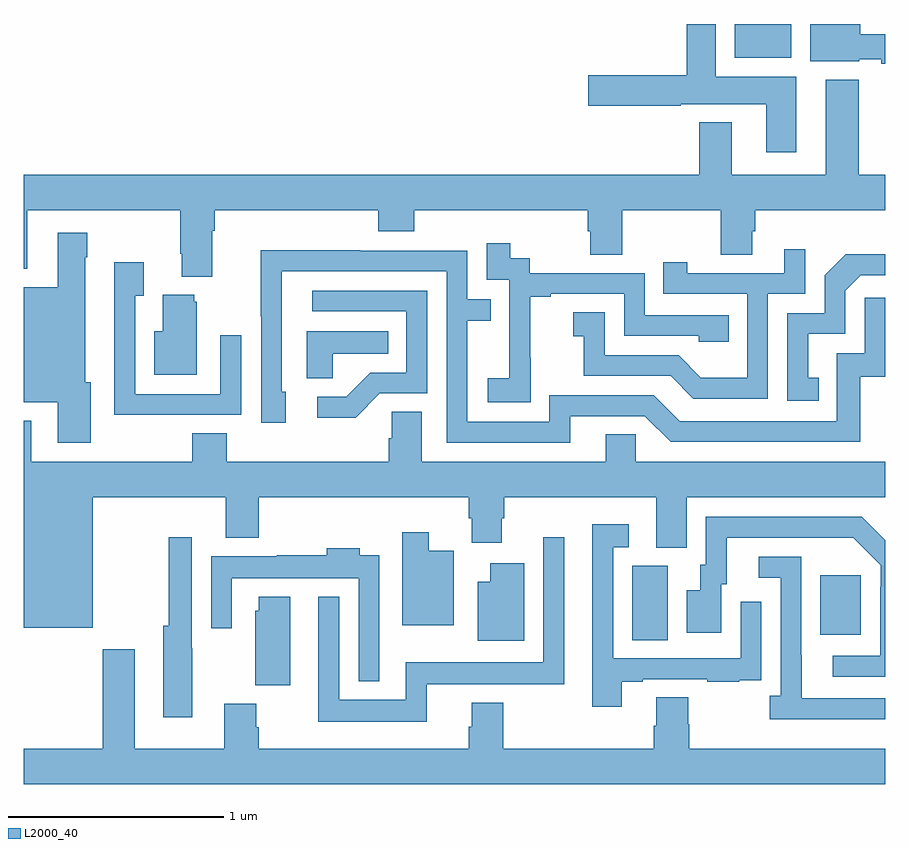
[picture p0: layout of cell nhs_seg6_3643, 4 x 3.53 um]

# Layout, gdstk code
import gdstk
lib = gdstk.Library(unit=1e-6, precision=1e-09)
def R(c, l, rs):  # rectangles x0, y0, x1, y1
    for r in rs: c.add(gdstk.rectangle(r[:2], r[2:], *l))
def P(c, l, *ps):  # polygons
    for p in ps: c.add(gdstk.Polygon(p, *l))
L2000_40 = (2000, 40)

nhs_seg6_3643 = lib.new_cell('nhs_seg6_3643')
R(nhs_seg6_3643, L2000_40, [(325.826,978.64,325.99,978.984), (326.699,978.665,326.887,978.94), (326.3,981.344,326.563,981.5)])
P(nhs_seg6_3643, L2000_40, [(326.587,981.256),(326.212,981.256),(326.212,981.5),(326.078,981.5),(326.078,981.263),(325.62,981.263),(325.62,981.121),(326.051,981.121),(326.051,981.128),(326.447,981.128),(326.447,980.904),(326.587,980.904)],
  [(327,981.452),(326.884,981.452),(326.884,981.5),(326.651,981.5),(326.651,981.326),(326.88,981.326),(326.88,981.336),(326.98,981.336),(326.98,981.316),(327,981.316)],
  [(323.875,980.54),(323.888,980.54),(323.888,980.636),(324.647,980.636),(324.647,980.537),(324.812,980.537),(324.812,980.636),(325.619,980.636),(325.619,980.538),(325.631,980.538),(325.631,980.428),(325.779,980.428),(325.779,980.636),(326.236,980.636),(326.236,980.428),(326.383,980.428),(326.383,980.538),(326.396,980.538),(326.396,980.636),(327,980.636),(327,980.8),(326.876,980.8),(326.876,981.241),(326.723,981.241),(326.723,980.8),(326.287,980.8),(326.287,981.043),(326.135,981.043),(326.135,980.8),(323,980.8),(323,980.363),(323.017,980.363),(323.017,980.636),(323.728,980.636),(323.728,980.434),(323.735,980.434),(323.735,980.327),(323.875,980.327)],
  [(323.311,979.836),(323.287,979.836),(323.287,980.417),(323.295,980.417),(323.295,980.53),(323.159,980.53),(323.159,980.278),(323,980.278),(323,979.743),(323.159,979.743),(323.159,979.557),(323.311,979.557)],
  [(325.353,979.951),(325.352,979.951),(325.352,980.235),(325.447,980.235),(325.447,980.247),(325.788,980.247),(325.788,980.052),(326.133,980.052),(326.133,980.025),(326.273,980.025),(326.273,980.148),(325.884,980.148),(325.884,980.343),(325.35,980.343),(325.35,980.412),(325.258,980.412),(325.258,980.482),(325.149,980.482),(325.149,980.313),(325.254,980.313),(325.254,980.084),(325.253,980.084),(325.253,979.855),(325.155,979.855),(325.155,979.745),(325.353,979.745)],
  [(326.454,980.247),(326.628,980.247),(326.628,980.455),(326.531,980.455),(326.531,980.343),(326.08,980.343),(326.08,980.395),(325.969,980.395),(325.969,980.247),(326.358,980.247),(326.358,979.858),(326.144,979.858),(326.04,979.962),(325.698,979.962),(325.698,980.161),(325.551,980.161),(325.551,980.051),(325.6,980.051),(325.6,979.866),(326.003,979.866),(326.108,979.761),(326.454,979.761)],
  [(325.537,979.68),(325.884,979.68),(326.004,979.56),(326.884,979.56),(326.884,979.863),(327,979.863),(327,980.23),(326.904,980.23),(326.904,979.971),(326.775,979.971),(326.775,979.656),(326.046,979.656),(325.926,979.776),(325.44,979.776),(325.44,979.653),(325.059,979.653),(325.059,980.122),(325.169,980.122),(325.169,980.223),(325.059,980.223),(325.059,980.448),(324.563,980.448),(324.563,980.45),(324.1,980.45),(324.1,980.143),(324.102,980.143),(324.102,979.65),(324.217,979.65),(324.217,979.794),(324.198,979.794),(324.198,980.352),(324.963,980.352),(324.963,979.557),(325.537,979.557)],
  [(326.69,979.857),(326.641,979.857),(326.641,980.061),(326.814,980.061),(326.814,980.262),(326.886,980.334),(327,980.334),(327,980.432),(326.816,980.432),(326.718,980.334),(326.718,980.157),(326.544,980.157),(326.544,979.752),(326.69,979.752)],
  [(323.693,979.686),(324.009,979.686),(324.009,980.056),(323.913,980.056),(323.913,979.782),(323.517,979.782),(323.517,980.239),(323.557,980.239),(323.557,980.395),(323.42,980.395),(323.42,979.936),(323.421,979.936),(323.421,979.685),(323.693,979.685)],
  [(324.654,979.785),(324.873,979.785),(324.873,980.262),(324.339,980.262),(324.339,980.166),(324.777,980.166),(324.777,979.881),(324.608,979.881),(324.497,979.77),(324.363,979.77),(324.363,979.673),(324.541,979.673)],
  [(323.803,980.211),(323.792,980.211),(323.792,980.242),(323.645,980.242),(323.645,980.074),(323.606,980.074),(323.606,979.871),(323.803,979.871)],
  [(324.435,979.97),(324.692,979.97),(324.692,980.074),(324.314,980.074),(324.314,979.855),(324.435,979.855)],
  [(323.32,979.304),(323.939,979.304),(323.939,979.115),(324.092,979.115),(324.092,979.304),(325.067,979.304),(325.067,979.206),(325.079,979.206),(325.079,979.092),(325.219,979.092),(325.219,979.206),(325.232,979.206),(325.232,979.304),(325.937,979.304),(325.937,979.069),(326.077,979.069),(326.077,979.304),(327,979.304),(327,979.468),(325.842,979.468),(325.842,979.595),(325.703,979.595),(325.703,979.468),(324.847,979.468),(324.847,979.7),(324.708,979.7),(324.708,979.577),(324.695,979.577),(324.695,979.468),(323.942,979.468),(323.942,979.601),(323.782,979.601),(323.782,979.468),(323.035,979.468),(323.035,979.658),(323,979.658),(323,978.698),(323.32,978.698)],
  [(327,979.104),(326.982,979.122),(326.981,979.121),(326.89,979.212),(326.166,979.212),(326.166,978.99),(326.141,978.99),(326.141,978.871),(326.078,978.871),(326.078,978.675),(326.239,978.675),(326.239,978.9),(326.263,978.9),(326.263,979.116),(326.851,979.116),(326.979,978.987),(326.979,978.887),(326.976,978.887),(326.976,978.567),(326.757,978.567),(326.757,978.471),(327,978.471)],
  [(325.777,978.447),(325.873,978.447),(325.873,978.459),(326.173,978.459),(326.173,978.447),(326.321,978.447),(326.321,978.453),(326.423,978.453),(326.423,978.562),(326.424,978.562),(326.424,978.817),(326.328,978.817),(326.328,978.555),(325.737,978.555),(325.737,979.071),(325.81,979.071),(325.81,979.177),(325.64,979.177),(325.64,978.33),(325.777,978.33)],
  [(324.997,979.054),(324.88,979.054),(324.88,979.141),(324.758,979.141),(324.758,978.71),(324.997,978.71)],
  [(324.872,978.434),(325.51,978.434),(325.51,979.117),(325.413,979.117),(325.413,978.538),(324.774,978.538),(324.774,978.364),(324.465,978.364),(324.465,978.841),(324.368,978.841),(324.368,978.26),(324.872,978.26)],
  [(323.782,978.602),(323.781,978.602),(323.781,979.117),(323.673,979.117),(323.673,978.706),(323.648,978.706),(323.648,978.282),(323.782,978.282)],
  [(324.651,979.033),(324.559,979.033),(324.559,979.066),(324.407,979.066),(324.407,979.033),(324.175,979.033),(324.175,979.03),(323.871,979.03),(323.871,978.696),(323.967,978.696),(323.967,978.926),(324.555,978.926),(324.555,978.449),(324.651,978.449)],
  [(327,978.369),(326.611,978.369),(326.611,978.569),(326.61,978.569),(326.61,979.026),(326.412,979.026),(326.412,978.93),(326.514,978.93),(326.514,978.382),(326.463,978.382),(326.463,978.272),(327,978.272)],
  [(325.324,978.997),(325.166,978.997),(325.166,978.91),(325.109,978.91),(325.109,978.638),(325.324,978.638)],
  [(324.238,978.841),(324.092,978.841),(324.092,978.777),(324.074,978.777),(324.074,978.43),(324.238,978.43)],
  [(327,978.136),(326.09,978.136),(326.09,978.249),(326.085,978.249),(326.085,978.374),(325.937,978.374),(325.937,978.242),(325.925,978.242),(325.925,978.136),(325.227,978.136),(325.227,978.349),(325.079,978.349),(325.079,978.237),(325.067,978.237),(325.067,978.136),(324.092,978.136),(324.092,978.236),(324.079,978.236),(324.079,978.345),(323.932,978.345),(323.932,978.136),(323.515,978.136),(323.515,978.598),(323.368,978.598),(323.368,978.136),(323,978.136),(323,977.972),(327,977.972)])

lib.write_gds('nhs_seg6_3643.gds')
